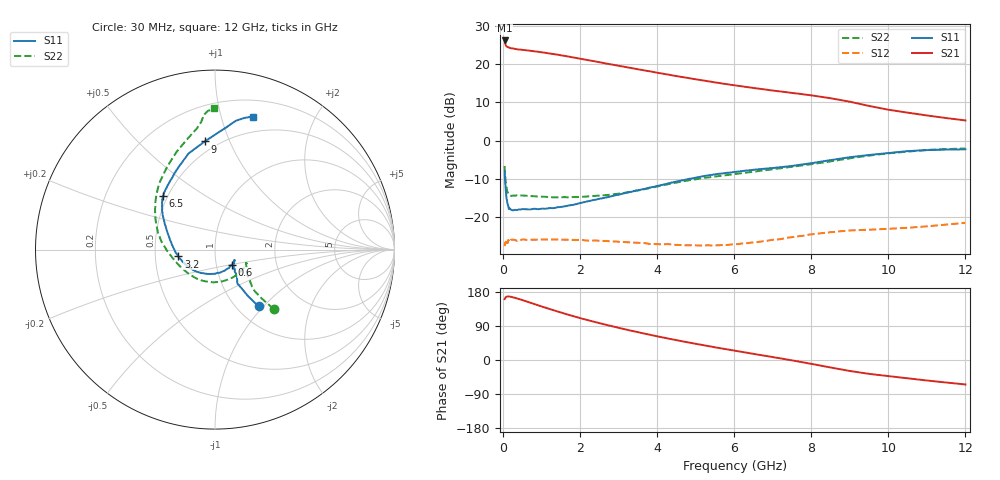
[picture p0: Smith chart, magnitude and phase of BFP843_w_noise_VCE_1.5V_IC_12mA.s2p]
! Infineon Technologies  Discrete & RF Semiconductors
! BFP843
! VCE =  1.5 V,  IC =  12 mA
! Common Emitter S-Parameters:  Aug 2013
# GHz  S  MA  R  50
!  f  S11  S21  S12  S22
! GHz  MAG  ANG  MAG  ANG  MAG  ANG  MAG  ANG
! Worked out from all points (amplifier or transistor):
!   103 points, 30 MHz to 12 GHz, reference 50 ohm
!   highest |S21| = 26.1 dB at 30 MHz (marker M1)
!   |S21| within 3 dB of that: start of sweep to 933.1 MHz
!   unconditionally stable (mu >= 1): 108.9 MHz to 114 MHz; 136.2 MHz to 10.94 GHz
!   at 400 MHz: K = 1.02, MAG = 24.1 dB, |S12| = -26.0 dB
!   at 3.7 GHz: K = 1.35, MAG = 19.0 dB, |S12| = -26.8 dB
!   at 12 GHz: K = 0.86, MSG = 13.4 dB, |S12| = -21.5 dB
!   lowest NFmin = 0.94 dB at 450 MHz
!   S11 on the Smith chart (normalised r, x): 30 MHz: 1.25, -0.94; 600 MHz: 1.19, -0.20; 3.2 GHz: 0.66, -0.05; 6.5 GHz: 0.47, +0.34; 9 GHz: 0.43, +0.81; 12 GHz: 0.35, +1.27
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0.03  0.3987 -52.5  20.3 160.8  0.0417 26.8  0.465 -45.4
0.04  0.3145 -54.7  18.87 162.2  0.0453 23.8  0.3772 -46.3
0.05  0.2657 -55.4  18.12 164.7  0.0448 13.7  0.3198 -46.3
0.07  0.1961 -51.4  17.16 166.4  0.0461 9.3  0.252 -40.7
0.13  0.1366 -41.1  16.51 167.9  0.0504 6.5  0.2001 -29.8
0.3  0.1245 -27.9  15.72 164.1  0.0504 2.8  0.1904 -22.9
0.6  0.1263 -41.5  15.09 154.5  0.0504 0.7  0.1899 -33.2
0.9  0.1267 -59.2  14.45 144.3  0.0508 -0.7  0.1856 -47.7
1.3  0.1308 -83.3  13.48 131.3  0.051 -1.9  0.1812 -68.4
1.7  0.1419 -106.8  12.48 119.0  0.0506 -4.6  0.181 -87.8
2.1  0.1568 -127.1  11.46 107.6  0.0497 -6.1  0.1845 -106.5
2.7  0.1819 -152.0  10.08 92.0  0.0488 -6.8  0.1943 -131.1
3.2  0.2081 -169.5  9.08 80.0  0.047 -8.3  0.2103 -149.6
3.6  0.23 178.4  8.347 71.0  0.0459 -8.4  0.2281 -162.5
4.1  0.2617 165.7  7.531 60.3  0.0441 -7.9  0.2575 -175.8
5  0.3279 150.1  6.309 42.6  0.0427 -3.7  0.312 168.4
6.1  0.3936 138.6  5.183 23.0  0.0443 2.6  0.3697 153.4
6.5  0.415 134.4  4.857 16.2  0.0468 4.1  0.3919 148.3
8.5  0.5552 105.4  3.568 -19.8  0.0635 1.3  0.5346 119.8
9  0.6054 95.4  3.214 -29.0  0.0669 -1.8  0.5862 111.3
10.5  0.7272 80.8  2.314 -48.3  0.0725 -7.7  0.7166 96.1
12  0.7675 73.9  1.831 -64.6  0.0842 -14.1  0.7866 90.3
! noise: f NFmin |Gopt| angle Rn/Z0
0.45  0.94  0.04  5  0.02
0.9  0.95  0.04  16  0.05
1.5  0.97  0.04  24  0.11
1.9  0.99  0.04  34  0.18
2.4  1.02  0.03  44  0.24
3.5  1.07  0.01  58  0.27
5.5  1.19  0.18  -121  0.33
10  1.8  0.5  -65  0.45
